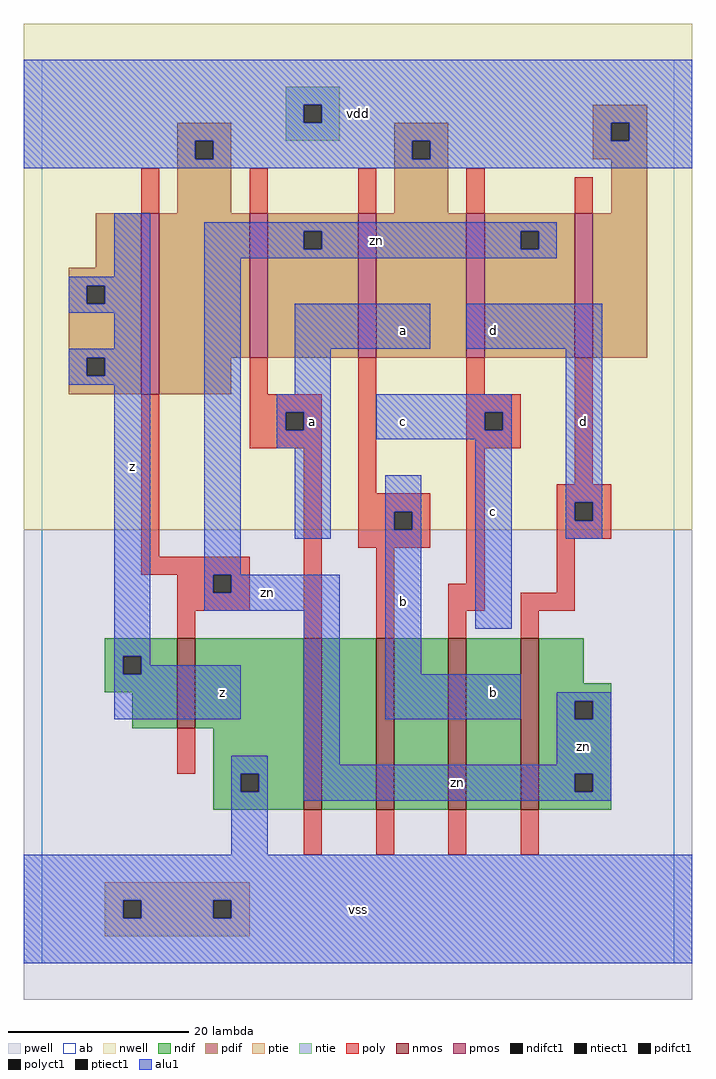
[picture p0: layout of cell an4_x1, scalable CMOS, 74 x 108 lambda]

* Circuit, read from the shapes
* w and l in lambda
.subckt an4_x1 a b c d vdd vss z zn
M1 vss zn z vss nfet w=10 l=2
M2 n1 a vss vss nfet w=19 l=2
M3 n2 b n1 vss nfet w=19 l=2
M4 n3 c n2 vss nfet w=19 l=2
M5 zn d n3 vss nfet w=19 l=2
M6 vdd zn z vdd pfet w=20 l=2
M7 zn a vdd vdd pfet w=16 l=2
M8 vdd b zn vdd pfet w=16 l=2
M9 zn c vdd vdd pfet w=16 l=2
M10 vdd d zn vdd pfet w=16 l=2
.ends

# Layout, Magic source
magic
tech scmos
<< ab >>
rect 0 0 70 100
<< nwell >>
rect -2 48 72 104
<< pwell >>
rect -2 -4 72 48
<< poly >>
rect 11 83 13 88
rect 23 83 25 88
rect 35 83 37 88
rect 47 83 49 88
rect 59 83 61 87
rect 23 63 25 67
rect 11 45 13 63
rect 23 61 31 63
rect 23 59 27 61
rect 29 59 31 61
rect 23 57 31 59
rect 11 43 23 45
rect 15 41 19 43
rect 21 41 23 43
rect 15 39 23 41
rect 15 36 17 39
rect 29 36 31 57
rect 35 52 37 67
rect 47 63 49 67
rect 47 61 53 63
rect 47 59 49 61
rect 51 59 53 61
rect 47 57 53 59
rect 35 50 43 52
rect 35 48 39 50
rect 41 48 43 50
rect 35 46 43 48
rect 37 36 39 46
rect 47 42 49 57
rect 59 53 61 67
rect 45 39 49 42
rect 57 51 63 53
rect 57 49 59 51
rect 61 49 63 51
rect 57 47 63 49
rect 57 41 59 47
rect 53 39 59 41
rect 45 36 47 39
rect 53 36 55 39
rect 15 21 17 26
rect 29 12 31 17
rect 37 12 39 17
rect 45 12 47 17
rect 53 12 55 17
<< ndif >>
rect 7 34 15 36
rect 7 32 9 34
rect 11 32 15 34
rect 7 30 15 32
rect 10 26 15 30
rect 17 26 29 36
rect 19 21 29 26
rect 19 19 22 21
rect 24 19 29 21
rect 19 17 29 19
rect 31 17 37 36
rect 39 17 45 36
rect 47 17 53 36
rect 55 31 60 36
rect 55 29 63 31
rect 55 27 59 29
rect 61 27 63 29
rect 55 21 63 27
rect 55 19 59 21
rect 61 19 63 21
rect 55 17 63 19
<< pdif >>
rect 61 93 67 95
rect 15 91 21 93
rect 39 91 45 93
rect 15 89 17 91
rect 19 89 21 91
rect 15 83 21 89
rect 39 89 41 91
rect 43 89 45 91
rect 61 91 63 93
rect 65 91 67 93
rect 61 89 67 91
rect 39 83 45 89
rect 63 83 67 89
rect 6 77 11 83
rect 3 75 11 77
rect 3 73 5 75
rect 7 73 11 75
rect 3 67 11 73
rect 3 65 5 67
rect 7 65 11 67
rect 3 63 11 65
rect 13 67 23 83
rect 25 81 35 83
rect 25 79 29 81
rect 31 79 35 81
rect 25 67 35 79
rect 37 67 47 83
rect 49 81 59 83
rect 49 79 53 81
rect 55 79 59 81
rect 49 67 59 79
rect 61 67 67 83
rect 13 63 21 67
<< alu1 >>
rect -2 95 72 100
rect -2 93 29 95
rect 31 93 72 95
rect -2 91 63 93
rect 65 91 72 93
rect -2 89 17 91
rect 19 89 41 91
rect 43 89 72 91
rect -2 88 72 89
rect 8 76 12 83
rect 3 75 12 76
rect 3 73 5 75
rect 7 73 12 75
rect 3 72 12 73
rect 8 68 12 72
rect 3 67 12 68
rect 3 65 5 67
rect 7 65 12 67
rect 3 64 12 65
rect 8 34 12 64
rect 18 81 57 82
rect 18 79 29 81
rect 31 79 53 81
rect 55 79 57 81
rect 18 78 57 79
rect 18 43 22 78
rect 28 68 43 73
rect 47 68 62 73
rect 28 63 32 68
rect 26 61 32 63
rect 26 59 27 61
rect 29 59 32 61
rect 26 57 32 59
rect 37 61 52 63
rect 37 59 49 61
rect 51 59 52 61
rect 37 58 52 59
rect 28 47 32 57
rect 38 50 42 54
rect 38 48 39 50
rect 41 48 42 50
rect 18 41 19 43
rect 21 41 33 43
rect 18 39 33 41
rect 8 32 9 34
rect 11 33 12 34
rect 11 32 22 33
rect 8 27 22 32
rect 21 21 25 23
rect 21 19 22 21
rect 24 19 25 21
rect 21 12 25 19
rect 29 22 33 39
rect 38 32 42 48
rect 48 37 52 58
rect 58 51 62 68
rect 58 49 59 51
rect 61 49 62 51
rect 58 47 62 49
rect 38 27 53 32
rect 57 29 63 30
rect 57 27 59 29
rect 61 27 63 29
rect 57 22 63 27
rect 29 21 63 22
rect 29 19 59 21
rect 61 19 63 21
rect 29 18 63 19
rect -2 7 72 12
rect -2 5 9 7
rect 11 5 19 7
rect 21 5 72 7
rect -2 0 72 5
<< ptie >>
rect 7 7 23 9
rect 7 5 9 7
rect 11 5 19 7
rect 21 5 23 7
rect 7 3 23 5
<< ntie >>
rect 27 95 33 97
rect 27 93 29 95
rect 31 93 33 95
rect 27 91 33 93
<< nmos >>
rect 15 26 17 36
rect 29 17 31 36
rect 37 17 39 36
rect 45 17 47 36
rect 53 17 55 36
<< pmos >>
rect 11 63 13 83
rect 23 67 25 83
rect 35 67 37 83
rect 47 67 49 83
rect 59 67 61 83
<< polyct1 >>
rect 27 59 29 61
rect 19 41 21 43
rect 49 59 51 61
rect 39 48 41 50
rect 59 49 61 51
<< ndifct1 >>
rect 9 32 11 34
rect 22 19 24 21
rect 59 27 61 29
rect 59 19 61 21
<< ntiect1 >>
rect 29 93 31 95
<< ptiect1 >>
rect 9 5 11 7
rect 19 5 21 7
<< pdifct1 >>
rect 17 89 19 91
rect 41 89 43 91
rect 63 91 65 93
rect 5 73 7 75
rect 5 65 7 67
rect 29 79 31 81
rect 53 79 55 81
<< labels >>
rlabel alu1 20 30 20 30 6 z
rlabel alu1 10 55 10 55 6 z
rlabel alu1 35 6 35 6 6 vss
rlabel alu1 25 41 25 41 6 zn
rlabel alu1 30 60 30 60 6 a
rlabel alu1 35 94 35 94 6 vdd
rlabel alu1 50 30 50 30 6 b
rlabel alu1 40 40 40 40 6 b
rlabel alu1 50 50 50 50 6 c
rlabel alu1 40 60 40 60 6 c
rlabel alu1 40 70 40 70 6 a
rlabel alu1 50 70 50 70 6 d
rlabel alu1 60 24 60 24 6 zn
rlabel alu1 46 20 46 20 6 zn
rlabel alu1 60 60 60 60 6 d
rlabel alu1 37 80 37 80 6 zn
<< end >>
